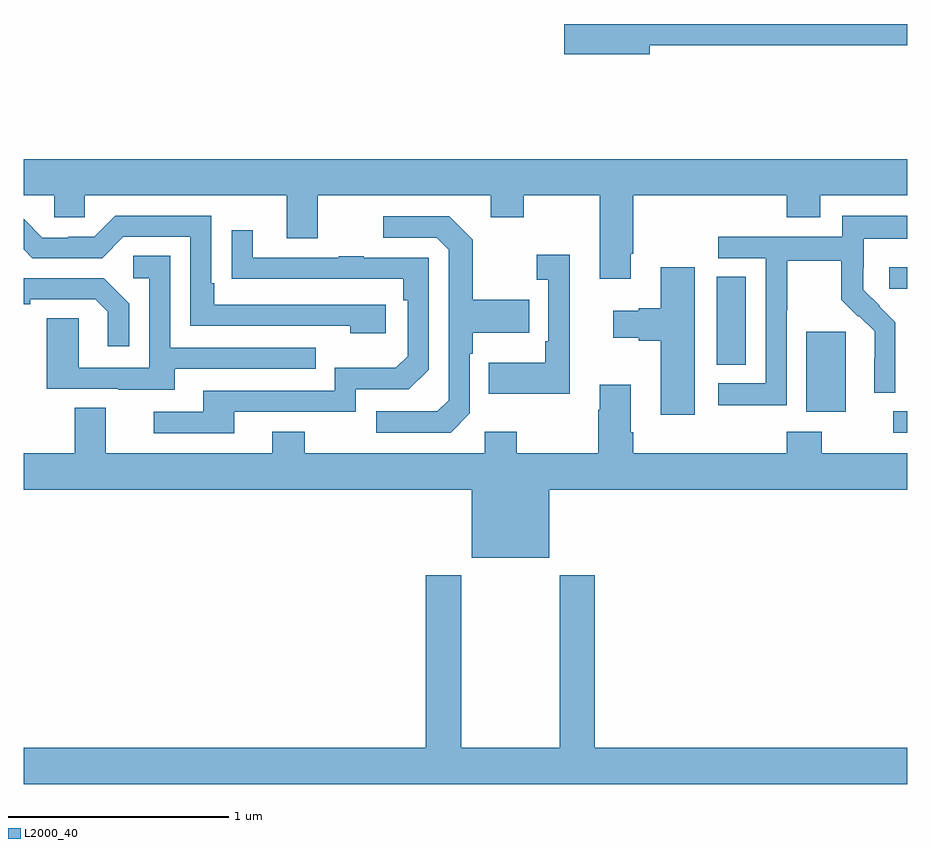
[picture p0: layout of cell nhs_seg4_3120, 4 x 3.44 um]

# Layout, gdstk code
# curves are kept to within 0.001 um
import gdstk
lib = gdstk.Library(unit=1e-6, precision=1e-09)
def R(c, l, rs):  # rectangles x0, y0, x1, y1
    for r in rs: c.add(gdstk.rectangle(r[:2], r[2:], *l))
def P(c, l, *ps):  # polygons
    for p in ps: c.add(gdstk.Polygon(p, *l))
L2000_40 = (2000, 40)

nhs_seg4_3120 = lib.new_cell('nhs_seg4_3120')
R(nhs_seg4_3120, L2000_40, [(278.937,825.051,279,825.147), (278.543,825.146,278.722,825.507), (278.138,825.358,278.269,825.755), (278.919,825.702,279,825.799)])
P(nhs_seg4_3120, L2000_40, [(277.834,826.804),(279,826.804),(279,826.9),(277.446,826.9),(277.446,826.762),(277.834,826.762)],
  [(277.747,825.859),(277.76,825.859),(277.76,826.124),(278.453,826.124),(278.453,826.025),(278.605,826.025),(278.605,826.124),(279,826.124),(279,826.288),(275,826.288),(275,826.124),(275.139,826.124),(275.139,826.026),(275.277,826.026),(275.277,826.124),(276.191,826.124),(276.191,825.93),(276.331,825.93),(276.331,826.124),(277.115,826.124),(277.115,826.025),(277.263,826.025),(277.263,826.124),(277.607,826.124),(277.607,825.747),(277.747,825.747)],
  [(278.454,825.604),(278.457,825.604),(278.457,825.828),(278.701,825.828),(278.701,825.653),(278.778,825.576),(278.781,825.579),(278.852,825.509),(278.852,825.386),(278.85,825.386),(278.85,825.232),(278.946,825.232),(278.946,825.55),(278.8,825.698),(278.8,825.795),(278.802,825.795),(278.802,825.929),(279,825.929),(279,826.033),(278.706,826.033),(278.706,825.936),(278.145,825.936),(278.145,825.84),(278.358,825.84),(278.358,825.273),(278.145,825.273),(278.145,825.175),(278.454,825.175)],
  [(276.64,825.63),(275.863,825.63),(275.863,825.727),(275.85,825.727),(275.85,826.032),(275.415,826.032),(275.319,825.936),(275.201,825.936),(275.201,825.933),(275.085,825.933),(275,826.018),(275,825.88),(275.04,825.84),(275.355,825.84),(275.451,825.936),(275.754,825.936),(275.754,825.534),(276.479,825.534),(276.479,825.5),(276.64,825.5)],
  [(277.02,825.138),(277.02,825.407),(277.033,825.407),(277.033,825.503),(277.289,825.503),(277.289,825.651),(277.033,825.651),(277.033,825.923),(276.927,826.029),(276.627,826.029),(276.627,825.933),(276.87,825.933),(276.924,825.879),(276.924,825.198),(276.873,825.147),(276.597,825.147),(276.597,825.051),(276.933,825.051)],
  [(275.953,825.144),(276.504,825.144),(276.504,825.246),(276.744,825.246),(276.834,825.336),(276.834,825.843),(276.539,825.843),(276.539,825.848),(276.427,825.848),(276.427,825.843),(276.037,825.843),(276.037,825.967),(275.941,825.967),(275.941,825.748),(276.718,825.747),(276.718,825.65),(276.738,825.65),(276.738,825.396),(276.685,825.343),(276.408,825.343),(276.408,825.24),(275.813,825.24),(275.813,825.144),(275.589,825.144),(275.589,825.048),(275.953,825.048)],
  [(277.472,825.856),(277.323,825.856),(277.323,825.743),(277.374,825.743),(277.374,825.463),(277.362,825.463),(277.362,825.367),(277.105,825.367),(277.105,825.227),(277.472,825.227)],
  [(275.683,825.339),(276.323,825.339),(276.323,825.435),(275.664,825.435),(275.664,825.851),(275.496,825.851),(275.496,825.75),(275.568,825.75),(275.568,825.345),(275.25,825.345),(275.25,825.569),(275.105,825.569),(275.105,825.249),(275.429,825.249),(275.429,825.245),(275.683,825.245)],
  [(278.038,825.799),(277.883,825.799),(277.883,825.614),(277.784,825.614),(277.784,825.601),(277.668,825.601),(277.668,825.479),(277.784,825.479),(277.784,825.467),(277.883,825.467),(277.883,825.132),(278.038,825.132)],
  [(275.478,825.634),(275.362,825.75),(275,825.75),(275,825.632),(275.029,825.632),(275.029,825.654),(275.324,825.654),(275.381,825.597),(275.381,825.441),(275.478,825.441)],
  [(277.378,824.792),(279,824.792),(279,824.956),(278.613,824.956),(278.613,825.055),(278.453,825.055),(278.453,824.956),(277.76,824.956),(277.76,825.052),(277.747,825.052),(277.747,825.268),(277.607,825.268),(277.607,825.155),(277.6,825.155),(277.6,824.956),(277.233,824.956),(277.233,825.055),(277.086,825.055),(277.086,824.956),(276.273,824.956),(276.273,825.055),(276.125,825.055),(276.125,824.956),(275.371,824.956),(275.371,825.164),(275.231,825.164),(275.231,824.956),(275,824.956),(275,824.792),(277.028,824.792),(277.028,824.483),(277.378,824.483)],
  [(279,823.624),(277.586,823.624),(277.586,824.404),(277.426,824.404),(277.426,823.624),(276.981,823.624),(276.981,824.404),(276.821,824.404),(276.821,823.624),(275,823.624),(275,823.46),(279,823.46)])

lib.write_gds('nhs_seg4_3120.gds')
